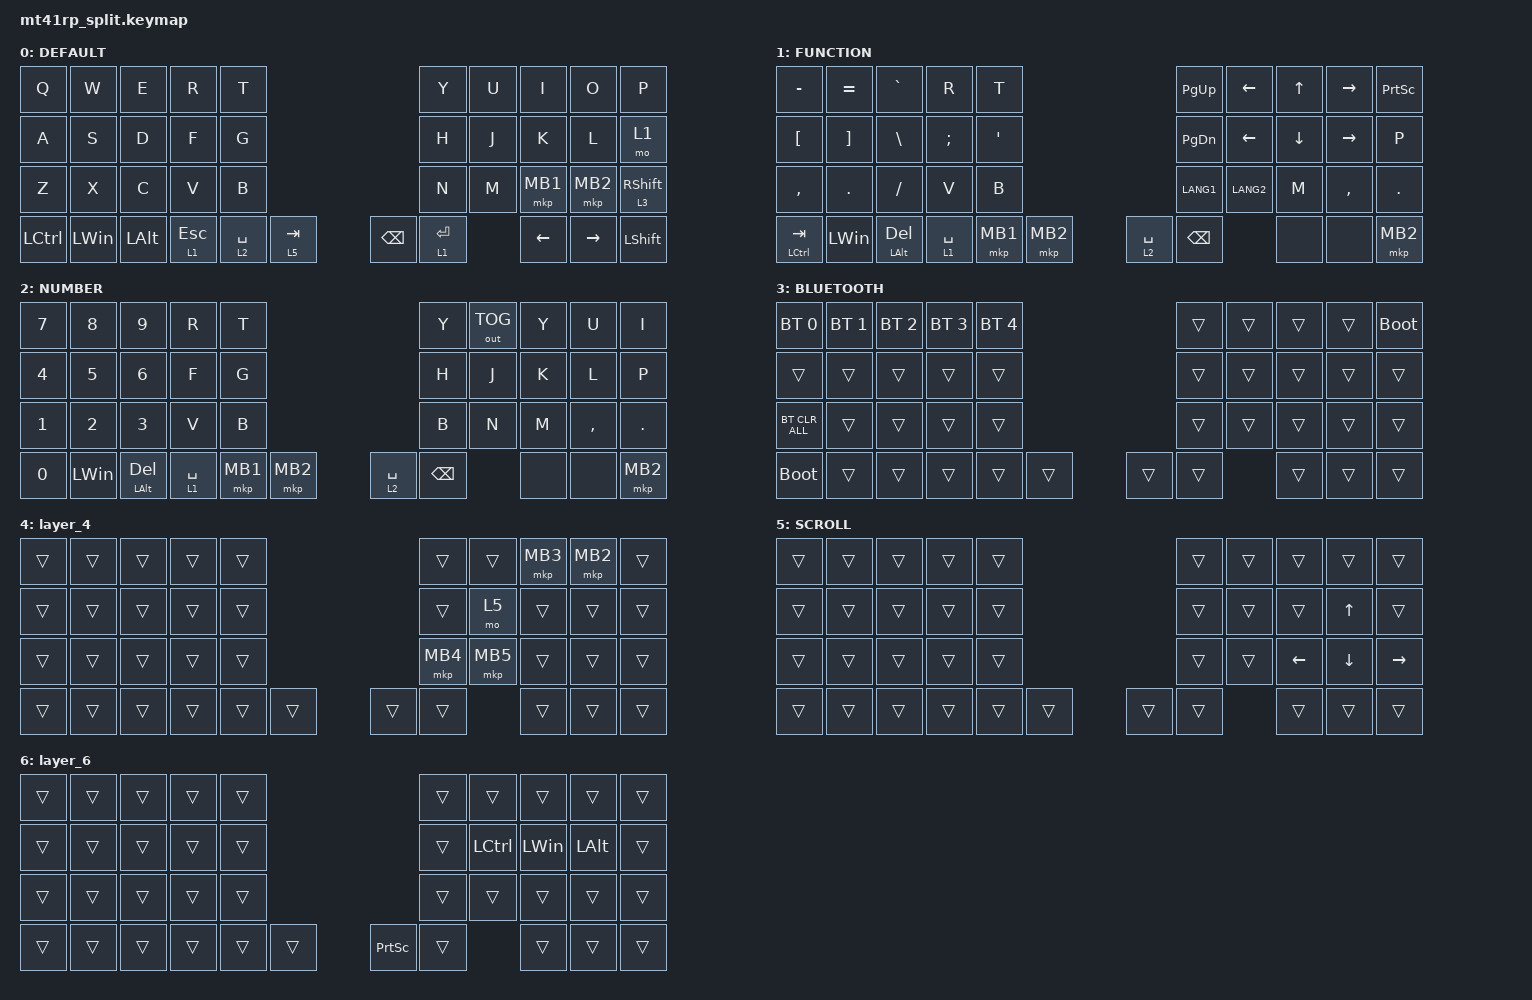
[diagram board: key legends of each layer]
#include <dt-bindings/zmk/mouse.h>
#include <behaviors.dtsi>
#include <dt-bindings/zmk/bt.h>
#include <dt-bindings/zmk/keys.h>
#include <dt-bindings/zmk/outputs.h>
#include <dt-bindings/zmk/pointing.h>

/*
 * ortho42tb のキーマップを mt-41rp split（41キー）に移したもの。
 * 上3段は ortho42tb の 1〜10 列、最下段は 11 キーそのまま。
 *
 *   0  1  2  3  4      5  6  7  8  9
 *  10 11 12 13 14     15 16 17 18 19
 *  20 21 22 23 24     25 26 27 28 29
 *  30 31 32 33 34 35 36 37 (TB) 38 39 40
 */

#define SCROLL 5
#define NUM 6

&mt {
    flavor = "balanced";
    quick-tap-ms = <0>;
};

/ {
    combos {
        compatible = "zmk,combos";

        tab {
            bindings = <&kp TAB>;
            key-positions = <10 11>;
        };

        shift_tab {
            bindings = <&kp LS(TAB)>;
            key-positions = <11 12>;
        };

        muhennkann {
            bindings = <&to_layer_0 INT_MUHENKAN>;
            key-positions = <0 10>;
        };

        // ortho42tb の 11 列目にあった MINUS の代わり
        minus {
            bindings = <&kp MINUS>;
            key-positions = <8 9>;
        };

        double_quotation {
            bindings = <&kp DOUBLE_QUOTES>;
            key-positions = <18 19>;
        };

        eq {
            bindings = <&kp EQUAL>;
            key-positions = <22 23>;
        };
    };

    macros {
        to_layer_0: to_layer_0 {
            compatible = "zmk,behavior-macro-one-param";
            #binding-cells = <1>;
            bindings = <&to 0 &macro_param_1to1 &kp MACRO_PLACEHOLDER>;
            label = "TO_LAYER_0";
        };
    };

    behaviors {
        lt_to_layer_0: lt_to_layer_0 {
            compatible = "zmk,behavior-hold-tap";
            label = "LAYER_TAP_TO_0";
            bindings = <&mo>, <&to_layer_0>;

            #binding-cells = <2>;
            tapping-term-ms = <200>;
        };

        z_shift: z_shift {
            compatible = "zmk,behavior-tap-dance";
            label = "Z_SHIFT";
            #binding-cells = <0>;
            bindings = <&mt LEFT_SHIFT Z>, <&kp LS(Z)>;

            tapping-term-ms = <120>;
        };
    };

    keymap {
        compatible = "zmk,keymap";

        DEFAULT {
            bindings = <
                &kp Q      &kp W         &kp E         &kp R      &kp T                                   &kp Y      &kp U           &kp I          &kp O           &kp P
                &kp A      &kp S         &kp D         &kp F      &kp G                                   &kp H      &kp J           &kp K          &kp L           &mo 1
                &kp Z      &kp X         &kp C         &kp V      &kp B                                   &kp N      &kp M           &mkp MB1       &mkp MB2        &lt 3 RIGHT_SHIFT
                &kp LCTRL  &kp LEFT_WIN  &kp LEFT_ALT  &lt 1 ESC  &lt 2 SPACE  &lt 5 TAB    &kp BACKSPACE  &lt 1 ENTER                    &kp LEFT_ARROW  &kp RIGHT_ARROW  &kp LEFT_SHIFT
            >;
        };

        FUNCTION {
            bindings = <
                &kp MINUS      &kp EQUAL     &kp GRAVE            &kp R        &kp T                         &kp PG_UP  &kp LEFT_ARROW  &kp UP_ARROW    &kp RIGHT_ARROW  &kp PSCRN
                &kp LBKT       &kp RBKT      &kp BACKSLASH        &kp SEMI     &kp SQT                       &kp PG_DN  &kp LEFT_ARROW  &kp DOWN_ARROW  &kp RIGHT_ARROW  &kp P
                &kp COMMA      &kp DOT       &kp SLASH            &kp V        &kp B                         &kp LANG1  &kp LANG2       &kp M           &kp COMMA        &kp DOT
                &mt LCTRL TAB  &kp LEFT_WIN  &mt LEFT_ALT DELETE  &lt 1 SPACE  &mkp MB1  &mkp MB2  &lt 2 SPACE  &kp BACKSPACE                  &none            &none            &mkp MB2
            >;
        };

        NUMBER {
            bindings = <
                &kp NUMBER_7  &kp NUMBER_8  &kp NUMBER_9         &kp R        &kp T                         &kp Y         &out OUT_TOG  &kp Y      &kp U      &kp I
                &kp NUMBER_4  &kp NUMBER_5  &kp NUMBER_6         &kp F        &kp G                         &kp H         &kp J         &kp K      &kp L      &kp P
                &kp NUMBER_1  &kp NUMBER_2  &kp NUMBER_3         &kp V        &kp B                         &kp B         &kp N         &kp M      &kp COMMA  &kp DOT
                &kp NUMBER_0  &kp LEFT_WIN  &mt LEFT_ALT DELETE  &lt 1 SPACE  &mkp MB1  &mkp MB2  &lt 2 SPACE  &kp BACKSPACE              &none      &none      &mkp MB2
            >;
        };

        BLUETOOTH {
            bindings = <
                &bt BT_SEL 0    &bt BT_SEL 1  &bt BT_SEL 2  &bt BT_SEL 3  &bt BT_SEL 4                  &trans  &trans  &trans  &trans  &bootloader
                &trans          &trans        &trans        &trans        &trans                        &trans  &trans  &trans  &trans  &trans
                &bt BT_CLR_ALL  &trans        &trans        &trans        &trans                        &trans  &trans  &trans  &trans  &trans
                &bootloader     &trans        &trans        &trans        &trans  &trans  &trans  &trans          &trans  &trans  &trans
            >;
        };

        layer_4 {
            bindings = <
                &trans  &trans  &trans  &trans  &trans                    &trans    &trans    &mkp MB3  &mkp MB2  &trans
                &trans  &trans  &trans  &trans  &trans                    &trans    &mo 5     &trans    &trans    &trans
                &trans  &trans  &trans  &trans  &trans                    &mkp MB4  &mkp MB5  &trans    &trans    &trans
                &trans  &trans  &trans  &trans  &trans  &trans  &trans  &trans              &trans    &trans    &trans
            >;
        };

        SCROLL {
            bindings = <
                &trans  &trans  &trans  &trans  &trans                    &trans  &trans          &trans          &trans           &trans
                &trans  &trans  &trans  &trans  &trans                    &trans  &trans          &trans          &kp UP_ARROW     &trans
                &trans  &trans  &trans  &trans  &trans                    &trans  &trans          &kp LEFT_ARROW  &kp DOWN_ARROW   &kp RIGHT_ARROW
                &trans  &trans  &trans  &trans  &trans  &trans  &trans  &trans                  &trans           &trans  &trans
            >;
        };

        layer_6 {
            bindings = <
                &trans  &trans  &trans  &trans  &trans                      &trans     &trans     &trans        &trans        &trans
                &trans  &trans  &trans  &trans  &trans                      &trans     &kp LCTRL  &kp LEFT_WIN  &kp LEFT_ALT  &trans
                &trans  &trans  &trans  &trans  &trans                      &trans     &trans     &trans        &trans        &trans
                &trans  &trans  &trans  &trans  &trans  &trans  &kp PSCRN  &trans                &trans        &trans        &trans
            >;
        };
    };
};
